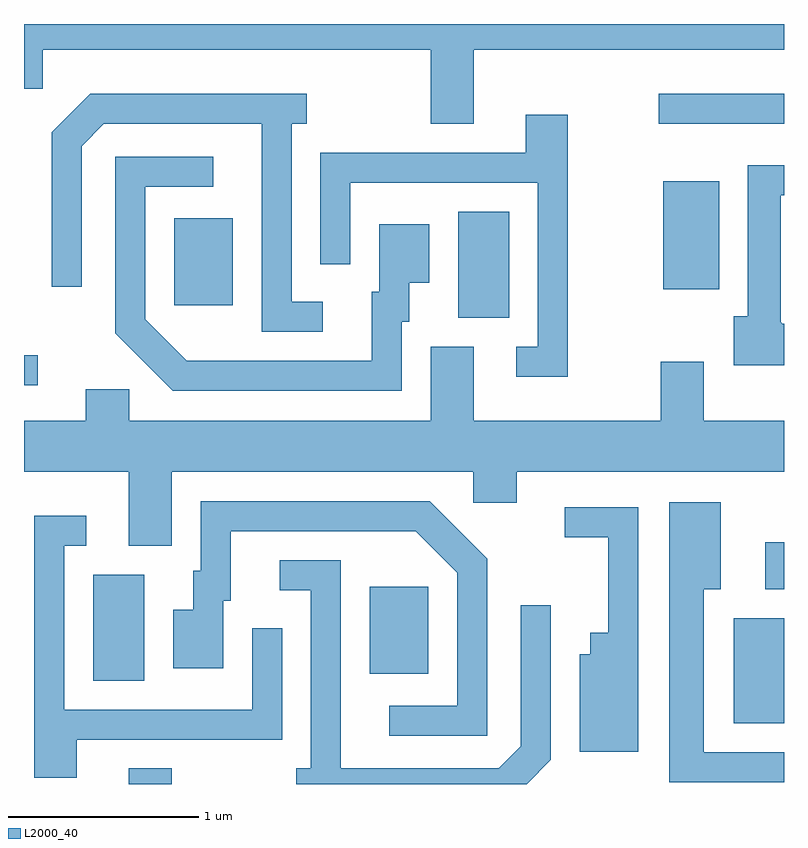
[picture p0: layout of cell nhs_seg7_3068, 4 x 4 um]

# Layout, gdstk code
import gdstk
lib = gdstk.Library(unit=1e-6, precision=1e-09)
def R(c, l, rs):  # rectangles x0, y0, x1, y1
    for r in rs: c.add(gdstk.rectangle(r[:2], r[2:], *l))
def P(c, l, *ps):  # polygons
    for p in ps: c.add(gdstk.Polygon(p, *l))
L2000_40 = (2000, 40)

nhs_seg7_3068 = lib.new_cell('nhs_seg7_3068')
R(nhs_seg7_3068, L2000_40, [(280.161,1688.252,280.389,1688.334), (283.346,1688.571,283.611,1689.124), (279.976,1688.796,280.244,1689.354), (281.431,1688.831,281.739,1689.289), (283.511,1689.276,283.611,1689.524), (279.611,1690.351,279.683,1690.509), (281.896,1690.706,282.164,1691.264), (280.401,1690.771,280.709,1691.229), (282.976,1690.856,283.269,1691.424), (282.953,1691.726,283.611,1691.884)])
P(nhs_seg7_3068, L2000_40, [(281.979,1692.116),(283.611,1692.116),(283.611,1692.252),(279.611,1692.252),(279.611,1691.911),(279.709,1691.911),(279.709,1692.116),(281.751,1692.116),(281.751,1691.726),(281.979,1691.726)],
  [(281.183,1690.789),(281.019,1690.789),(281.019,1691.726),(281.098,1691.726),(281.098,1691.884),(279.959,1691.884),(279.756,1691.682),(279.756,1690.868),(279.914,1690.868),(279.914,1691.609),(280.032,1691.726),(280.861,1691.726),(280.861,1690.631),(281.183,1690.631)],
  [(282.474,1691.774),(282.251,1691.774),(282.251,1691.574),(281.171,1691.574),(281.171,1690.988),(281.329,1690.988),(281.329,1691.416),(282.316,1691.416),(282.316,1690.554),(282.203,1690.554),(282.203,1690.396),(282.474,1690.396)],
  [(281.599,1690.686),(281.639,1690.686),(281.639,1690.891),(281.744,1690.891),(281.744,1691.199),(281.481,1691.199),(281.481,1690.844),(281.441,1690.844),(281.441,1690.479),(280.467,1690.479),(280.249,1690.697),(280.249,1691.396),(280.608,1691.396),(280.608,1691.554),(280.091,1691.554),(280.091,1690.624),(280.394,1690.321),(281.599,1690.321)],
  [(283.611,1690.674),(283.6,1690.674),(283.6,1690.68),(283.594,1690.68),(283.594,1691.351),(283.611,1691.351),(283.611,1691.509),(283.421,1691.509),(283.421,1690.714),(283.346,1690.714),(283.346,1690.456),(283.611,1690.456)],
  [(280.389,1689.896),(281.976,1689.896),(281.976,1689.731),(282.204,1689.731),(282.204,1689.896),(283.611,1689.896),(283.611,1690.164),(283.189,1690.164),(283.189,1690.474),(282.961,1690.474),(282.961,1690.164),(281.979,1690.164),(281.979,1690.554),(281.751,1690.554),(281.751,1690.164),(280.164,1690.164),(280.164,1690.329),(279.936,1690.329),(279.936,1690.164),(279.611,1690.164),(279.611,1689.896),(280.161,1689.896),(280.161,1689.506),(280.389,1689.506)],
  [(282.049,1689.437),(281.747,1689.739),(280.541,1689.739),(280.541,1689.374),(280.501,1689.374),(280.501,1689.169),(280.396,1689.169),(280.396,1688.861),(280.659,1688.861),(280.659,1689.216),(280.699,1689.216),(280.699,1689.581),(281.674,1689.581),(281.891,1689.364),(281.891,1688.664),(281.533,1688.664),(281.533,1688.506),(282.049,1688.506)],
  [(283.611,1688.419),(283.189,1688.419),(283.189,1689.276),(283.279,1689.276),(283.279,1689.734),(283.006,1689.734),(283.006,1688.261),(283.611,1688.261)],
  [(282.844,1689.709),(282.458,1689.709),(282.458,1689.551),(282.686,1689.551),(282.686,1689.049),(282.591,1689.049),(282.591,1688.934),(282.536,1688.934),(282.536,1688.421),(282.844,1688.421)],
  [(279.889,1688.486),(280.969,1688.486),(280.969,1689.073),(280.811,1689.073),(280.811,1688.644),(279.824,1688.644),(279.824,1689.506),(279.938,1689.506),(279.938,1689.664),(279.666,1689.664),(279.666,1688.286),(279.889,1688.286)],
  [(282.384,1688.379),(282.384,1689.193),(282.226,1689.193),(282.226,1688.452),(282.109,1688.334),(281.279,1688.334),(281.279,1689.429),(280.958,1689.429),(280.958,1689.271),(281.121,1689.271),(281.121,1688.334),(281.043,1688.334),(281.043,1688.252),(282.258,1688.252)])

lib.write_gds('nhs_seg7_3068.gds')
